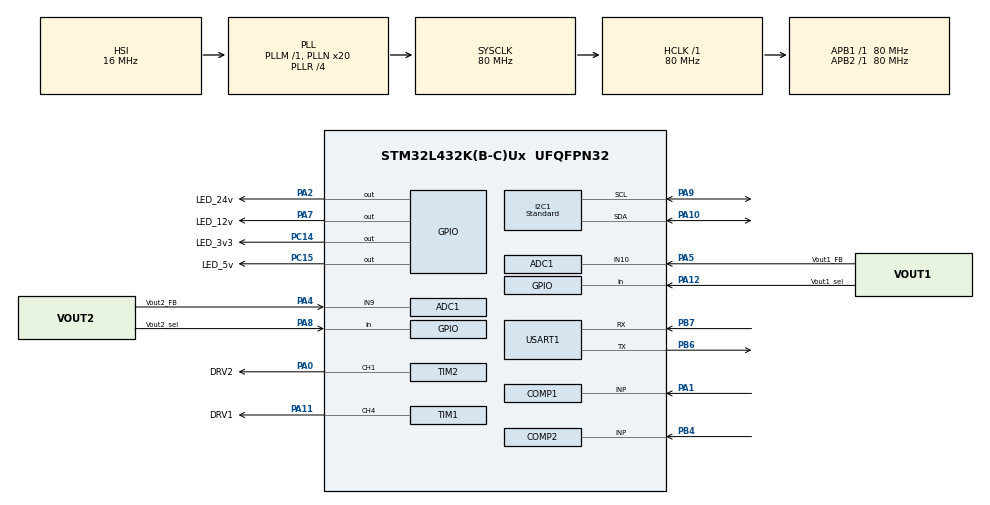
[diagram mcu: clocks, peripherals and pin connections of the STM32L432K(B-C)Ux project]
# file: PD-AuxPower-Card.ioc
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ADC1.Channel-3\#ChannelRegularConversion=ADC_CHANNEL_9
ADC1.Channel-8\#ChannelRegularConversion=ADC_CHANNEL_10
ADC1.ContinuousConvMode=DISABLE
ADC1.DMAContinuousRequests=ENABLE
ADC1.DiscontinuousConvMode=DISABLE
ADC1.EOCSelection=ADC_EOC_SEQ_CONV
ADC1.ExternalTrigConv=ADC_EXTERNALTRIG_T15_TRGO
ADC1.NbrOfConversion=2
ADC1.NbrOfConversionFlag=1
ADC1.OffsetNumber-8\#ChannelRegularConversion=ADC_OFFSET_NONE
ADC1.Rank-8\#ChannelRegularConversion=2
ADC1.Resolution=ADC_RESOLUTION_12B
ADC1.SamplingTime-8\#ChannelRegularConversion=ADC_SAMPLETIME_2CYCLES_5
ADC1.master=1
COMP1.TriggerMode=COMP_TRIGGERMODE_IT_RISING
COMP2.TriggerMode=COMP_TRIGGERMODE_IT_RISING
DAC1.DAC_Channel-DAC_OUT2_Int=DAC_CHANNEL_2
Dma.ADC1.0.Direction=DMA_PERIPH_TO_MEMORY
Dma.ADC1.0.Instance=DMA1_Channel1
Dma.ADC1.0.MemDataAlignment=DMA_MDATAALIGN_HALFWORD
Dma.ADC1.0.MemInc=DMA_MINC_ENABLE
Dma.ADC1.0.Mode=DMA_CIRCULAR
Dma.ADC1.0.PeriphDataAlignment=DMA_PDATAALIGN_HALFWORD
Dma.ADC1.0.PeriphInc=DMA_PINC_DISABLE
Dma.ADC1.0.Priority=DMA_PRIORITY_VERY_HIGH
Dma.Request0=ADC1
I2C1.GeneralCallMode=I2C_GENERALCALL_ENABLE
I2C1.I2C_Speed_Mode=I2C_Standard
I2C1.OwnAddress=0
I2C1.Timing=0x10909CEC
Mcu.Family=STM32L4
Mcu.Name=STM32L432K(B-C)Ux
Mcu.Package=UFQFPN32
NVIC.COMP_IRQn=true\:0\:0\:false\:false\:true\:false\:true\:true
NVIC.DMA1_Channel1_IRQn=true\:0\:0\:false\:false\:true\:false\:true\:true
NVIC.PriorityGroup=NVIC_PRIORITYGROUP_4
NVIC.TIM1_UP_TIM16_IRQn=true\:0\:0\:false\:false\:true\:true\:true\:true
NVIC.USART1_IRQn=true\:0\:0\:false\:false\:true\:true\:true\:true
PA0.GPIO_Label=DRV2
PA0.Signal=S_TIM2_CH1
PA1.Mode=INP
PA1.Signal=COMP1_INP
PA10.Mode=I2C
PA10.Signal=I2C1_SDA
PA11.GPIO_Label=DRV1
PA11.Signal=S_TIM1_CH4
PA12.GPIO_Label=Vout1_sel
PA12.Signal=GPIO_Input
PA13\ (JTMS-SWDIO).GPIO_Label=SWDIO
PA13\ (JTMS-SWDIO).Mode=Serial_Wire
PA13\ (JTMS-SWDIO).Signal=SYS_JTMS-SWDIO
PA14\ (JTCK-SWCLK).GPIO_Label=SWCLK
PA14\ (JTCK-SWCLK).Mode=Serial_Wire
PA14\ (JTCK-SWCLK).Signal=SYS_JTCK-SWCLK
PA2.GPIO_Label=LED_24v
PA2.PinState=GPIO_PIN_RESET
PA2.Signal=GPIO_Output
PA4.GPIO_Label=Vout2_FB
PA4.GPIO_Mode=GPIO_MODE_ANALOG_ADC_CONTROL
PA4.GPIO_PuPd=GPIO_NOPULL
PA4.Signal=ADCx_IN9
PA5.GPIO_Label=Vout1_FB
PA5.GPIO_Mode=GPIO_MODE_ANALOG_ADC_CONTROL
PA5.GPIO_PuPd=GPIO_NOPULL
PA5.Signal=ADCx_IN10
PA7.GPIO_Label=LED_12v
PA7.Signal=GPIO_Output
PA8.GPIO_Label=Vout2_sel
PA8.Signal=GPIO_Input
PA9.Mode=I2C
PA9.Signal=I2C1_SCL
PB4\ (NJTRST).Mode=INP
PB4\ (NJTRST).Signal=COMP2_INP
PB6.Mode=Asynchronous
PB6.Signal=USART1_TX
PB7.Mode=Asynchronous
PB7.Signal=USART1_RX
PC14-OSC32_IN\ (PC14).GPIO_Label=LED_3v3
PC14-OSC32_IN\ (PC14).GPIO_ModeDefaultOutputPP=GPIO_MODE_OUTPUT_PP
PC14-OSC32_IN\ (PC14).GPIO_PuPd=GPIO_NOPULL
PC14-OSC32_IN\ (PC14).Signal=GPIO_Output
PC15-OSC32_OUT\ (PC15).GPIO_Label=LED_5v
PC15-OSC32_OUT\ (PC15).GPIO_ModeDefaultOutputPP=GPIO_MODE_OUTPUT_PP
PC15-OSC32_OUT\ (PC15).Signal=GPIO_Output
ProjectManager.HeapSize=0x200
ProjectManager.StackSize=0x400
ProjectManager.TargetToolchain=STM32CubeIDE
RCC.ADCFreq_Value=64000000
RCC.AHBFreq_Value=80000000
RCC.APB1Freq_Value=80000000
RCC.APB1TimFreq_Value=80000000
RCC.APB2Freq_Value=80000000
RCC.APB2TimFreq_Value=80000000
RCC.CortexFreq_Value=80000000
RCC.HCLKFreq_Value=80000000
RCC.HSE_VALUE=8000000
RCC.HSI16_VALUE=16000000
RCC.HSI48_VALUE=48000000
RCC.HSI_VALUE=16000000
RCC.LSE_VALUE=32768
RCC.MSI_VALUE=4000000
RCC.PLLMUL=RCC_PLLMUL_4
RCC.PLLN=20
RCC.PLLR=RCC_PLLR_DIV4
RCC.PLLSourceVirtual=RCC_PLLSOURCE_HSI
RCC.SYSCLKFreq_VALUE=80000000
RCC.SYSCLKSource=RCC_SYSCLKSOURCE_PLLCLK
RCC.USBFreq_Value=64000000
RCC.VCOOutputFreq_Value=320000000
SH.ADCx_IN10.0=ADC1_IN10,IN10-Single-Ended
SH.ADCx_IN9.0=ADC1_IN9,IN9-Single-Ended
SH.S_TIM1_CH4.0=TIM1_CH4,PWM Generation4 CH4
SH.S_TIM2_CH1.0=TIM2_CH1,PWM Generation1 CH1
TIM1.AutoReloadPreload=TIM_AUTORELOAD_PRELOAD_ENABLE
TIM1.Channel-PWM\ Generation4\ CH4=TIM_CHANNEL_4
TIM1.ClockDivision=TIM_CLOCKDIVISION_DIV1
TIM1.Period=159
TIM1.Prescaler=0
TIM1.Pulse-PWM\ Generation4\ CH4=0
TIM1.TIM_MasterOutputTrigger=TIM_TRGO_UPDATE
TIM15.AutoReloadPreload=TIM_AUTORELOAD_PRELOAD_ENABLE
TIM15.Period=399
TIM15.TIM_MasterOutputTrigger=TIM_TRGO_UPDATE
TIM16.AutoReloadPreload=TIM_AUTORELOAD_PRELOAD_ENABLE
TIM16.Period=99
TIM16.Prescaler=7999
TIM2.AutoReloadPreload=TIM_AUTORELOAD_PRELOAD_ENABLE
TIM2.Channel-PWM\ Generation1\ CH1=TIM_CHANNEL_1
TIM2.ClockDivision=TIM_CLOCKDIVISION_DIV1
TIM2.Period=159
TIM2.Prescaler=0
USART1.VirtualMode-Asynchronous=VM_ASYNC
USART1.WordLength=WORDLENGTH_8B
VP_COMP1_VS_DACOUT1.Mode=INM_DACOUT1
VP_COMP2_VS_DACOUT2.Mode=INM_DACOUT2
VP_DAC1_VS_DACI1.Mode=DAC_OUT1_Int
VP_DAC1_VS_DACI2.Mode=DAC_OUT2_Int
VP_TIM15_VS_ClockSourceINT.Mode=Internal
VP_TIM16_VS_ClockSourceINT.Mode=Enable_Timer
VP_TIM1_VS_ClockSourceINT.Mode=Internal
VP_TIM2_VS_ClockSourceINT.Mode=Internal
VP_TIM2_VS_ClockSourceITR.Mode=TriggerSource_ITR0
VP_TIM2_VS_ControllerModeCombinedResetTrigger.Mode=Combined_Reset_Trigger_Mode
board=NUCLEO-L432KC

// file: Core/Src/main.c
/* USER CODE BEGIN Header */
/**
  ******************************************************************************
  * @file           : main.c
  * @brief          : Main program body
  ******************************************************************************
  * @attention
  *
  * Copyright (c) 2023 STMicroelectronics.
  * All rights reserved.
  *
  * This software is licensed under terms that can be found in the LICENSE file
  * in the root directory of this software component.
  * If no LICENSE file comes with this software, it is provided AS-IS.
  *
  ******************************************************************************
  */
/* USER CODE END Header */
#include "main.h"

/* USER CODE BEGIN Includes */
#include "stdio.h"
#include "string.h"
#include "pd_aux_typedef.h"
#include "pid.h"
#include "FUSB302B_driver.h"
#include "pd_sink.h"
/* USER CODE END Includes */

ADC_HandleTypeDef hadc1;
DMA_HandleTypeDef hdma_adc1;

COMP_HandleTypeDef hcomp1;
COMP_HandleTypeDef hcomp2;

DAC_HandleTypeDef hdac1;

I2C_HandleTypeDef hi2c1;

TIM_HandleTypeDef htim1;
TIM_HandleTypeDef htim2;
TIM_HandleTypeDef htim15;
TIM_HandleTypeDef htim16;

UART_HandleTypeDef huart1;

void SystemClock_Config(void);
static void MX_GPIO_Init(void);
static void MX_DMA_Init(void);
static void MX_ADC1_Init(void);
static void MX_TIM1_Init(void);
static void MX_I2C1_Init(void);
static void MX_TIM2_Init(void);
static void MX_USART1_UART_Init(void);
static void MX_TIM16_Init(void);
static void MX_TIM15_Init(void);
static void MX_COMP1_Init(void);
static void MX_COMP2_Init(void);
static void MX_DAC1_Init(void);

/* USER CODE BEGIN 0 */
uint16_t ADC_res[2] = {0};
uint16_t Iout1_FB = 0;
uint16_t Iout2_FB = 0;
uint16_t Vout1_FB = 0;
uint16_t Vout2_FB = 0;
uint32_t timer15_ctr = 0;
uint32_t timer16_ctr = 0;
uint16_t adc_isr_ctr = 0;
uint16_t pwm1_duty = PWM1_MIN_DUTY;
uint16_t pwm2_duty = PWM2_MIN_DUTY;
uint8_t SW_3v3_5v = 0;
uint8_t SW_12v_24v = 0;
uint8_t SW_3v3_5v_old = 2;
uint8_t SW_12v_24v_old = 2;

// FUSB302B PD controller I2C address
HAL_StatusTypeDef i2c_status;

// UART communication variables
char uart_tx_msg[256];

// PID parameter structure
extern PID_struct_t Vout1_pid_param;
extern PID_struct_t Vout2_pid_param;

// FUSB302B object definition
extern FUSB302B_t fusb;

// variables for monitor board status
Board_status_t board_status;

/* USER CODE END 0 */

int main(void)
{

  /* MCU Configuration--------------------------------------------------------*/

  /* Reset of all peripherals, Initializes the Flash interface and the Systick. */
  HAL_Init();

  /* Configure the system clock */
  SystemClock_Config();

  /* USER CODE BEGIN SysInit */

  // Enable SysTick timer (if not enabled by default)
//  HAL_SYSTICK_Config(HAL_RCC_GetHCLKFreq());
  /* USER CODE END SysInit */

  /* Initialize all configured peripherals */
  MX_GPIO_Init();
  MX_DMA_Init();
  MX_ADC1_Init();
  MX_TIM1_Init();
  MX_I2C1_Init();
  MX_TIM2_Init();
  MX_USART1_UART_Init();
  MX_TIM16_Init();
  MX_TIM15_Init();
  MX_COMP1_Init();
  MX_COMP2_Init();
  MX_DAC1_Init();
  /* USER CODE BEGIN 2 */
  // Initialize FUSB302B PD chip
  //
  Init_pid(&Vout1_pid_param);
  Init_pid(&Vout2_pid_param);

  // ADC calibration
  HAL_ADCEx_Calibration_Start(&hadc1, ADC_SINGLE_ENDED);
  HAL_Delay(1);

  // start pwm generation
  HAL_TIM_PWM_Start_IT(&htim1, TIM_CHANNEL_4);
  HAL_TIM_PWM_Start_IT(&htim2, TIM_CHANNEL_1);

  // kick off ADC DMA conversion, this function active ADC peripheral
  HAL_ADC_Start_DMA(&hadc1, (uint32_t*)&ADC_res, 2);

  // start 10Hz house-keeping timer
  HAL_TIM_Base_Start_IT(&htim16);

  // start 10kHz general timer for ADC DMA software trigger
  HAL_TIM_Base_Start_IT(&htim15);

  // initial FUSB302B PD chip
  FUSB302B_init(&hi2c1, &fusb);
  FUSB302B_read_all(&hi2c1, &fusb);

  /* USER CODE END 2 */

  /* Infinite loop */
  /* USER CODE BEGIN WHILE */
  while (1)
  {
//	  i2c_status = HAL_I2C_Master_Transmit(&hi2c1, FUSB302B_ADDR, i2c_buffer, 1, HAL_MAX_DELAY);
//	  if(i2c_status == HAL_OK){
//		  i2c_status = HAL_I2C_Master_Receive(&hi2c1, FUSB302B_ADDR, i2c_buffer, 1, HAL_MAX_DELAY);
//	  	  if(i2c_status == HAL_OK){
//	  		i2c_data =  i2c_buffer[0];
//	  	  }
//	  	  else{
//			  board_status = I2C_ERROR;
//	  	  }
//	  }
//	  else{
//		  board_status = I2C_ERROR;
//	  }
//	  sprintf(uart_tx_msg,"Iout1_FB = %d Iout2_FB = %d Vout1_FB = %d Vout2_FB = %d \n\r",Iout1_FB, Iout2_FB, Vout1_FB, Vout2_FB);
//	  HAL_UART_Transmit(&huart1, (uint8_t*)uart_tx_msg, strlen(uart_tx_msg), 10);

    /* USER CODE END WHILE */

    /* USER CODE BEGIN 3 */
	  HAL_Delay(500);

  }
  /* USER CODE END 3 */
}

void SystemClock_Config(void)
{
  RCC_OscInitTypeDef RCC_OscInitStruct = {0};
  RCC_ClkInitTypeDef RCC_ClkInitStruct = {0};

  /** Configure the main internal regulator output voltage
  */
  if (HAL_PWREx_ControlVoltageScaling(PWR_REGULATOR_VOLTAGE_SCALE1) != HAL_OK)
  {
    Error_Handler();
  }

  /** Initializes the RCC Oscillators according to the specified parameters
  * in the RCC_OscInitTypeDef structure.
  */
  RCC_OscInitStruct.OscillatorType = RCC_OSCILLATORTYPE_HSI;
  RCC_OscInitStruct.HSIState = RCC_HSI_ON;
  RCC_OscInitStruct.HSICalibrationValue = RCC_HSICALIBRATION_DEFAULT;
  RCC_OscInitStruct.PLL.PLLState = RCC_PLL_ON;
  RCC_OscInitStruct.PLL.PLLSource = RCC_PLLSOURCE_HSI;
  RCC_OscInitStruct.PLL.PLLM = 1;
  RCC_OscInitStruct.PLL.PLLN = 20;
  RCC_OscInitStruct.PLL.PLLP = RCC_PLLP_DIV7;
  RCC_OscInitStruct.PLL.PLLQ = RCC_PLLQ_DIV2;
  RCC_OscInitStruct.PLL.PLLR = RCC_PLLR_DIV4;
  if (HAL_RCC_OscConfig(&RCC_OscInitStruct) != HAL_OK)
  {
    Error_Handler();
  }

  /** Initializes the CPU, AHB and APB buses clocks
  */
  RCC_ClkInitStruct.ClockType = RCC_CLOCKTYPE_HCLK|RCC_CLOCKTYPE_SYSCLK
                              |RCC_CLOCKTYPE_PCLK1|RCC_CLOCKTYPE_PCLK2;
  RCC_ClkInitStruct.SYSCLKSource = RCC_SYSCLKSOURCE_PLLCLK;
  RCC_ClkInitStruct.AHBCLKDivider = RCC_SYSCLK_DIV1;
  RCC_ClkInitStruct.APB1CLKDivider = RCC_HCLK_DIV1;
  RCC_ClkInitStruct.APB2CLKDivider = RCC_HCLK_DIV1;

  if (HAL_RCC_ClockConfig(&RCC_ClkInitStruct, FLASH_LATENCY_4) != HAL_OK)
  {
    Error_Handler();
  }
}

static void MX_ADC1_Init(void)
{

  /* USER CODE BEGIN ADC1_Init 0 */
  /* The ADC is set triggered by TIM1 TRGO, which is TIM1 update event
   * then after
   */
  /* USER CODE END ADC1_Init 0 */

  ADC_ChannelConfTypeDef sConfig = {0};

  /** Common config
  */
  hadc1.Instance = ADC1;
  hadc1.Init.ClockPrescaler = ADC_CLOCK_ASYNC_DIV1;
  hadc1.Init.Resolution = ADC_RESOLUTION_12B;
  hadc1.Init.DataAlign = ADC_DATAALIGN_RIGHT;
  hadc1.Init.ScanConvMode = ADC_SCAN_ENABLE;
  hadc1.Init.EOCSelection = ADC_EOC_SEQ_CONV;
  hadc1.Init.LowPowerAutoWait = DISABLE;
  hadc1.Init.ContinuousConvMode = DISABLE;
  hadc1.Init.NbrOfConversion = 2;
  hadc1.Init.DiscontinuousConvMode = DISABLE;
  hadc1.Init.ExternalTrigConv = ADC_EXTERNALTRIG_T15_TRGO;
  hadc1.Init.ExternalTrigConvEdge = ADC_EXTERNALTRIGCONVEDGE_RISING;
  hadc1.Init.DMAContinuousRequests = ENABLE;
  hadc1.Init.Overrun = ADC_OVR_DATA_PRESERVED;
  hadc1.Init.OversamplingMode = DISABLE;
  if (HAL_ADC_Init(&hadc1) != HAL_OK)
  {
    Error_Handler();
  }

  /** Configure Regular Channel
  */
  sConfig.Channel = ADC_CHANNEL_9;
  sConfig.Rank = ADC_REGULAR_RANK_1;
  sConfig.SamplingTime = ADC_SAMPLETIME_2CYCLES_5;
  sConfig.SingleDiff = ADC_SINGLE_ENDED;
  sConfig.OffsetNumber = ADC_OFFSET_NONE;
  sConfig.Offset = 0;
  if (HAL_ADC_ConfigChannel(&hadc1, &sConfig) != HAL_OK)
  {
    Error_Handler();
  }

  /** Configure Regular Channel
  */
  sConfig.Channel = ADC_CHANNEL_10;
  sConfig.Rank = ADC_REGULAR_RANK_2;
  if (HAL_ADC_ConfigChannel(&hadc1, &sConfig) != HAL_OK)
  {
    Error_Handler();
  }

}

static void MX_COMP1_Init(void)
{

  hcomp1.Instance = COMP1;
  hcomp1.Init.InvertingInput = COMP_INPUT_MINUS_DAC1_CH1;
  hcomp1.Init.NonInvertingInput = COMP_INPUT_PLUS_IO3;
  hcomp1.Init.OutputPol = COMP_OUTPUTPOL_NONINVERTED;
  hcomp1.Init.Hysteresis = COMP_HYSTERESIS_NONE;
  hcomp1.Init.BlankingSrce = COMP_BLANKINGSRC_NONE;
  hcomp1.Init.Mode = COMP_POWERMODE_HIGHSPEED;
  hcomp1.Init.WindowMode = COMP_WINDOWMODE_DISABLE;
  hcomp1.Init.TriggerMode = COMP_TRIGGERMODE_IT_RISING;
  if (HAL_COMP_Init(&hcomp1) != HAL_OK)
  {
    Error_Handler();
  }

}

static void MX_COMP2_Init(void)
{

  hcomp2.Instance = COMP2;
  hcomp2.Init.InvertingInput = COMP_INPUT_MINUS_DAC1_CH2;
  hcomp2.Init.NonInvertingInput = COMP_INPUT_PLUS_IO1;
  hcomp2.Init.OutputPol = COMP_OUTPUTPOL_NONINVERTED;
  hcomp2.Init.Hysteresis = COMP_HYSTERESIS_NONE;
  hcomp2.Init.BlankingSrce = COMP_BLANKINGSRC_NONE;
  hcomp2.Init.Mode = COMP_POWERMODE_HIGHSPEED;
  hcomp2.Init.WindowMode = COMP_WINDOWMODE_DISABLE;
  hcomp2.Init.TriggerMode = COMP_TRIGGERMODE_IT_RISING;
  if (HAL_COMP_Init(&hcomp2) != HAL_OK)
  {
    Error_Handler();
  }

}

static void MX_DAC1_Init(void)
{

  DAC_ChannelConfTypeDef sConfig = {0};

  /** DAC Initialization
  */
  hdac1.Instance = DAC1;
  if (HAL_DAC_Init(&hdac1) != HAL_OK)
  {
    Error_Handler();
  }

  /** DAC channel OUT1 config
  */
  sConfig.DAC_SampleAndHold = DAC_SAMPLEANDHOLD_DISABLE;
  sConfig.DAC_Trigger = DAC_TRIGGER_NONE;
  sConfig.DAC_OutputBuffer = DAC_OUTPUTBUFFER_DISABLE;
  sConfig.DAC_ConnectOnChipPeripheral = DAC_CHIPCONNECT_ENABLE;
  sConfig.DAC_UserTrimming = DAC_TRIMMING_FACTORY;
  if (HAL_DAC_ConfigChannel(&hdac1, &sConfig, DAC_CHANNEL_1) != HAL_OK)
  {
    Error_Handler();
  }

  /** DAC channel OUT2 config
  */
  if (HAL_DAC_ConfigChannel(&hdac1, &sConfig, DAC_CHANNEL_2) != HAL_OK)
  {
    Error_Handler();
  }

}

static void MX_I2C1_Init(void)
{

  hi2c1.Instance = I2C1;
  hi2c1.Init.Timing = 0x10909CEC;
  hi2c1.Init.OwnAddress1 = 0;
  hi2c1.Init.AddressingMode = I2C_ADDRESSINGMODE_7BIT;
  hi2c1.Init.DualAddressMode = I2C_DUALADDRESS_DISABLE;
  hi2c1.Init.OwnAddress2 = 0;
  hi2c1.Init.OwnAddress2Masks = I2C_OA2_NOMASK;
  hi2c1.Init.GeneralCallMode = I2C_GENERALCALL_ENABLE;
  hi2c1.Init.NoStretchMode = I2C_NOSTRETCH_DISABLE;
  if (HAL_I2C_Init(&hi2c1) != HAL_OK)
  {
    Error_Handler();
  }

  /** Configure Analogue filter
  */
  if (HAL_I2CEx_ConfigAnalogFilter(&hi2c1, I2C_ANALOGFILTER_ENABLE) != HAL_OK)
  {
    Error_Handler();
  }

  /** Configure Digital filter
  */
  if (HAL_I2CEx_ConfigDigitalFilter(&hi2c1, 0) != HAL_OK)
  {
    Error_Handler();
  }

}

static void MX_TIM1_Init(void)
{

  TIM_ClockConfigTypeDef sClockSourceConfig = {0};
  TIM_MasterConfigTypeDef sMasterConfig = {0};
  TIM_OC_InitTypeDef sConfigOC = {0};
  TIM_BreakDeadTimeConfigTypeDef sBreakDeadTimeConfig = {0};

  htim1.Instance = TIM1;
  htim1.Init.Prescaler = 0;
  htim1.Init.CounterMode = TIM_COUNTERMODE_UP;
  htim1.Init.Period = 159;
  htim1.Init.ClockDivision = TIM_CLOCKDIVISION_DIV1;
  htim1.Init.RepetitionCounter = 0;
  htim1.Init.AutoReloadPreload = TIM_AUTORELOAD_PRELOAD_ENABLE;
  if (HAL_TIM_Base_Init(&htim1) != HAL_OK)
  {
    Error_Handler();
  }
  sClockSourceConfig.ClockSource = TIM_CLOCKSOURCE_INTERNAL;
  if (HAL_TIM_ConfigClockSource(&htim1, &sClockSourceConfig) != HAL_OK)
  {
    Error_Handler();
  }
  if (HAL_TIM_PWM_Init(&htim1) != HAL_OK)
  {
    Error_Handler();
  }
  sMasterConfig.MasterOutputTrigger = TIM_TRGO_UPDATE;
  sMasterConfig.MasterOutputTrigger2 = TIM_TRGO2_RESET;
  sMasterConfig.MasterSlaveMode = TIM_MASTERSLAVEMODE_DISABLE;
  if (HAL_TIMEx_MasterConfigSynchronization(&htim1, &sMasterConfig) != HAL_OK)
  {
    Error_Handler();
  }
  sConfigOC.OCMode = TIM_OCMODE_PWM1;
  sConfigOC.Pulse = 0;
  sConfigOC.OCPolarity = TIM_OCPOLARITY_HIGH;
  sConfigOC.OCFastMode = TIM_OCFAST_DISABLE;
  sConfigOC.OCIdleState = TIM_OCIDLESTATE_RESET;
  sConfigOC.OCNIdleState = TIM_OCNIDLESTATE_RESET;
  if (HAL_TIM_PWM_ConfigChannel(&htim1, &sConfigOC, TIM_CHANNEL_4) != HAL_OK)
  {
    Error_Handler();
  }
  sBreakDeadTimeConfig.OffStateRunMode = TIM_OSSR_DISABLE;
  sBreakDeadTimeConfig.OffStateIDLEMode = TIM_OSSI_DISABLE;
  sBreakDeadTimeConfig.LockLevel = TIM_LOCKLEVEL_OFF;
  sBreakDeadTimeConfig.DeadTime = 0;
  sBreakDeadTimeConfig.BreakState = TIM_BREAK_DISABLE;
  sBreakDeadTimeConfig.BreakPolarity = TIM_BREAKPOLARITY_HIGH;
  sBreakDeadTimeConfig.BreakFilter = 0;
  sBreakDeadTimeConfig.Break2State = TIM_BREAK2_DISABLE;
  sBreakDeadTimeConfig.Break2Polarity = TIM_BREAK2POLARITY_HIGH;
  sBreakDeadTimeConfig.Break2Filter = 0;
  sBreakDeadTimeConfig.AutomaticOutput = TIM_AUTOMATICOUTPUT_DISABLE;
  if (HAL_TIMEx_ConfigBreakDeadTime(&htim1, &sBreakDeadTimeConfig) != HAL_OK)
  {
    Error_Handler();
  }
  /* USER CODE BEGIN TIM1_Init 2 */
  // Set initial duty cycle = 5%
  htim1.Instance->CCR4 = PWM1_MIN_DUTY;
  /* USER CODE END TIM1_Init 2 */
  HAL_TIM_MspPostInit(&htim1);

}

static void MX_TIM2_Init(void)
{

  TIM_ClockConfigTypeDef sClockSourceConfig = {0};
  TIM_SlaveConfigTypeDef sSlaveConfig = {0};
  TIM_MasterConfigTypeDef sMasterConfig = {0};
  TIM_OC_InitTypeDef sConfigOC = {0};

  htim2.Instance = TIM2;
  htim2.Init.Prescaler = 0;
  htim2.Init.CounterMode = TIM_COUNTERMODE_UP;
  htim2.Init.Period = 159;
  htim2.Init.ClockDivision = TIM_CLOCKDIVISION_DIV1;
  htim2.Init.AutoReloadPreload = TIM_AUTORELOAD_PRELOAD_ENABLE;
  if (HAL_TIM_Base_Init(&htim2) != HAL_OK)
  {
    Error_Handler();
  }
  sClockSourceConfig.ClockSource = TIM_CLOCKSOURCE_INTERNAL;
  if (HAL_TIM_ConfigClockSource(&htim2, &sClockSourceConfig) != HAL_OK)
  {
    Error_Handler();
  }
  if (HAL_TIM_PWM_Init(&htim2) != HAL_OK)
  {
    Error_Handler();
  }
  sSlaveConfig.SlaveMode = TIM_SLAVEMODE_COMBINED_RESETTRIGGER;
  sSlaveConfig.InputTrigger = TIM_TS_ITR0;
  if (HAL_TIM_SlaveConfigSynchro(&htim2, &sSlaveConfig) != HAL_OK)
  {
    Error_Handler();
  }
  sMasterConfig.MasterOutputTrigger = TIM_TRGO_RESET;
  sMasterConfig.MasterSlaveMode = TIM_MASTERSLAVEMODE_DISABLE;
  if (HAL_TIMEx_MasterConfigSynchronization(&htim2, &sMasterConfig) != HAL_OK)
  {
    Error_Handler();
  }
  sConfigOC.OCMode = TIM_OCMODE_PWM1;
  sConfigOC.Pulse = 0;
  sConfigOC.OCPolarity = TIM_OCPOLARITY_HIGH;
  sConfigOC.OCFastMode = TIM_OCFAST_DISABLE;
  if (HAL_TIM_PWM_ConfigChannel(&htim2, &sConfigOC, TIM_CHANNEL_1) != HAL_OK)
  {
    Error_Handler();
  }
  /* USER CODE BEGIN TIM2_Init 2 */
  // Set initial duty cycle = 5%

  htim2.Instance->CCR1 = PWM2_MIN_DUTY;
  /* USER CODE END TIM2_Init 2 */
  HAL_TIM_MspPostInit(&htim2);

}

static void MX_TIM15_Init(void)
{

  TIM_ClockConfigTypeDef sClockSourceConfig = {0};
  TIM_MasterConfigTypeDef sMasterConfig = {0};

  htim15.Instance = TIM15;
  htim15.Init.Prescaler = 0;
  htim15.Init.CounterMode = TIM_COUNTERMODE_UP;
  htim15.Init.Period = 399;
  htim15.Init.ClockDivision = TIM_CLOCKDIVISION_DIV1;
  htim15.Init.RepetitionCounter = 0;
  htim15.Init.AutoReloadPreload = TIM_AUTORELOAD_PRELOAD_ENABLE;
  if (HAL_TIM_Base_Init(&htim15) != HAL_OK)
  {
    Error_Handler();
  }
  sClockSourceConfig.ClockSource = TIM_CLOCKSOURCE_INTERNAL;
  if (HAL_TIM_ConfigClockSource(&htim15, &sClockSourceConfig) != HAL_OK)
  {
    Error_Handler();
  }
  sMasterConfig.MasterOutputTrigger = TIM_TRGO_UPDATE;
  sMasterConfig.MasterSlaveMode = TIM_MASTERSLAVEMODE_DISABLE;
  if (HAL_TIMEx_MasterConfigSynchronization(&htim15, &sMasterConfig) != HAL_OK)
  {
    Error_Handler();
  }

}

static void MX_TIM16_Init(void)
{

  htim16.Instance = TIM16;
  htim16.Init.Prescaler = 7999;
  htim16.Init.CounterMode = TIM_COUNTERMODE_UP;
  htim16.Init.Period = 99;
  htim16.Init.ClockDivision = TIM_CLOCKDIVISION_DIV1;
  htim16.Init.RepetitionCounter = 0;
  htim16.Init.AutoReloadPreload = TIM_AUTORELOAD_PRELOAD_ENABLE;
  if (HAL_TIM_Base_Init(&htim16) != HAL_OK)
  {
    Error_Handler();
  }

}

static void MX_USART1_UART_Init(void)
{

  huart1.Instance = USART1;
  huart1.Init.BaudRate = 115200;
  huart1.Init.WordLength = UART_WORDLENGTH_8B;
  huart1.Init.StopBits = UART_STOPBITS_1;
  huart1.Init.Parity = UART_PARITY_NONE;
  huart1.Init.Mode = UART_MODE_TX_RX;
  huart1.Init.HwFlowCtl = UART_HWCONTROL_NONE;
  huart1.Init.OverSampling = UART_OVERSAMPLING_16;
  huart1.Init.OneBitSampling = UART_ONE_BIT_SAMPLE_DISABLE;
  huart1.AdvancedInit.AdvFeatureInit = UART_ADVFEATURE_NO_INIT;
  if (HAL_UART_Init(&huart1) != HAL_OK)
  {
    Error_Handler();
  }

}

static void MX_DMA_Init(void)
{

  /* DMA controller clock enable */
  __HAL_RCC_DMA1_CLK_ENABLE();

  /* DMA interrupt init */
  /* DMA1_Channel1_IRQn interrupt configuration */
  HAL_NVIC_SetPriority(DMA1_Channel1_IRQn, 0, 0);
  HAL_NVIC_EnableIRQ(DMA1_Channel1_IRQn);

}

static void MX_GPIO_Init(void)
{
  GPIO_InitTypeDef GPIO_InitStruct = {0};

  /* GPIO Ports Clock Enable */
  __HAL_RCC_GPIOC_CLK_ENABLE();
  __HAL_RCC_GPIOA_CLK_ENABLE();
  __HAL_RCC_GPIOB_CLK_ENABLE();

  /*Configure GPIO pin Output Level */
  HAL_GPIO_WritePin(GPIOC, LED_3v3_Pin|LED_5v_Pin, GPIO_PIN_RESET);

  /*Configure GPIO pin Output Level */
  HAL_GPIO_WritePin(GPIOA, LED_24v_Pin|LED_12v_Pin, GPIO_PIN_RESET);

  /*Configure GPIO pins : LED_3v3_Pin LED_5v_Pin */
  GPIO_InitStruct.Pin = LED_3v3_Pin|LED_5v_Pin;
  GPIO_InitStruct.Mode = GPIO_MODE_OUTPUT_PP;
  GPIO_InitStruct.Pull = GPIO_NOPULL;
  GPIO_InitStruct.Speed = GPIO_SPEED_FREQ_LOW;
  HAL_GPIO_Init(GPIOC, &GPIO_InitStruct);

  /*Configure GPIO pins : LED_24v_Pin LED_12v_Pin */
  GPIO_InitStruct.Pin = LED_24v_Pin|LED_12v_Pin;
  GPIO_InitStruct.Mode = GPIO_MODE_OUTPUT_PP;
  GPIO_InitStruct.Pull = GPIO_NOPULL;
  GPIO_InitStruct.Speed = GPIO_SPEED_FREQ_LOW;
  HAL_GPIO_Init(GPIOA, &GPIO_InitStruct);

  /*Configure GPIO pins : Vout2_sel_Pin Vout1_sel_Pin */
  GPIO_InitStruct.Pin = Vout2_sel_Pin|Vout1_sel_Pin;
  GPIO_InitStruct.Mode = GPIO_MODE_INPUT;
  GPIO_InitStruct.Pull = GPIO_NOPULL;
  HAL_GPIO_Init(GPIOA, &GPIO_InitStruct);

/* USER CODE BEGIN MX_GPIO_Init_2 */
  _3v3LED_OFF;
  _5vLED_OFF;
  _12vLED_OFF;
  _24vLED_OFF;

/* USER CODE END MX_GPIO_Init_2 */
}

/* USER CODE BEGIN 4 */
void HAL_ADC_ConvCpltCallback(ADC_HandleTypeDef* hadc){
	// 65kHz update rate
	adc_isr_ctr = 0;
	// Read The ADC Conversion result to variables
	Vout2_FB = ADC_res[0];	// PA4
	Vout1_FB = ADC_res[1];	// PA5

	Vout1_pid_param.adc_fb_value = Vout1_FB;
	pid_process(&Vout1_pid_param);
	htim1.Instance->CCR4 = Vout1_pid_param.output;

	Vout2_pid_param.adc_fb_value = Vout2_FB;
	pid_process(&Vout2_pid_param);
	htim2.Instance->CCR1 = Vout2_pid_param.output;
}

void HAL_TIM_PeriodElapsedCallback(TIM_HandleTypeDef *htim){
	if(htim == &htim16){
		SW_3v3_5v  = HAL_GPIO_ReadPin(Vout1_sel_GPIO_Port, Vout1_sel_Pin);
		SW_12v_24v = HAL_GPIO_ReadPin(Vout2_sel_GPIO_Port, Vout2_sel_Pin);

		if(SW_3v3_5v != SW_3v3_5v_old){
			SW_3v3_5v_old = SW_3v3_5v;
			// indicate current output voltage mode
			if(SW_3v3_5v == 1){
				_3v3LED_OFF;
				_5vLED_ON;
				Vout1_pid_param.target_value = _5v_ADC_target;
//				sprintf(uart_tx_msg,"Output1 set to 3v3\n\r");
			}
			else{
				_3v3LED_ON;
				_5vLED_OFF;
				Vout1_pid_param.target_value = _3v3_ADC_target;
//				sprintf(uart_tx_msg,"Output1 set to 5v\n\r");
			}
//			HAL_UART_Transmit(&huart1, (uint8_t*)uart_tx_msg, strlen(uart_tx_msg), 10);
		}

		if(SW_12v_24v != SW_12v_24v_old){
			SW_12v_24v_old = SW_12v_24v;
			if(SW_12v_24v == 1){
				_12vLED_OFF;
				_24vLED_ON;
				Vout2_pid_param.target_value = _24v_ADC_target;
//				sprintf(uart_tx_msg,"Output2 set to 12v\n\r");
			}
			else{

				_12vLED_ON;
				_24vLED_OFF;
				Vout2_pid_param.target_value = _12v_ADC_target;
//				sprintf(uart_tx_msg,"Output2 set to 24v\n\r");
			}
//			HAL_UART_Transmit(&huart1, (uint8_t*)uart_tx_msg, strlen(uart_tx_msg), 10);
		}
		// 100Hz counter
		timer16_ctr ++;
	}
}

/* USER CODE END 4 */

void Error_Handler(void)
{
  __disable_irq();
  while (1)
  {
  }
}
